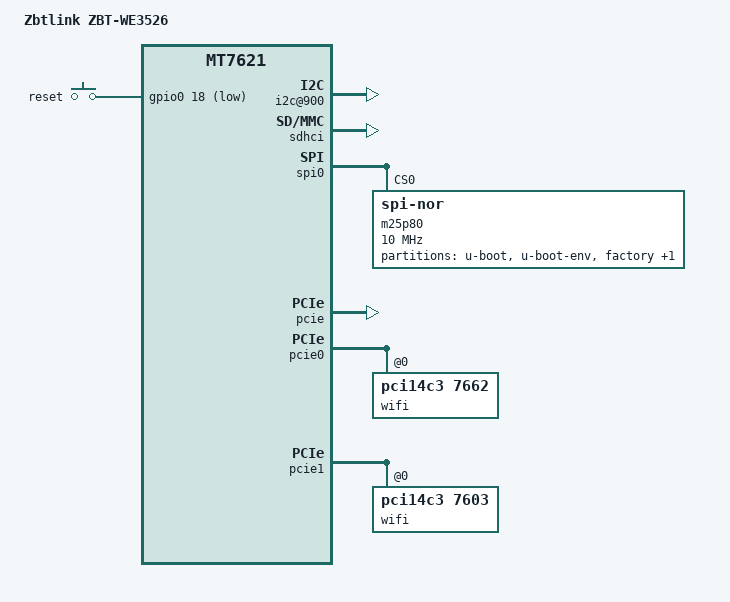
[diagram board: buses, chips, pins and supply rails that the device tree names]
/dts-v1/;

#include "mt7621.dtsi"

#include <dt-bindings/gpio/gpio.h>
#include <dt-bindings/input/input.h>

/ {
	compatible = "zbtlink,zbt-we3526", "mediatek,mt7621-soc";
	model = "Zbtlink ZBT-WE3526";

	chosen {
		bootargs = "console=ttyS0,115200";
	};

	palmbus: palmbus@1E000000 {
		i2c@900 {
			status = "okay";
		};
	};

	keys {
		compatible = "gpio-keys";

		reset {
			label = "reset";
			gpios = <&gpio0 18 GPIO_ACTIVE_LOW>;
			linux,code = <KEY_RESTART>;
		};
	};
};

&sdhci {
	status = "okay";
};

&spi0 {
	status = "okay";

	m25p80@0 {
		compatible = "jedec,spi-nor";
		reg = <0>;
		spi-max-frequency = <10000000>;

		partitions {
			compatible = "fixed-partitions";
			#address-cells = <1>;
			#size-cells = <1>;

			partition@0 {
				label = "u-boot";
				reg = <0x0 0x30000>;
				read-only;
			};

			partition@30000 {
				label = "u-boot-env";
				reg = <0x30000 0x10000>;
				read-only;
			};

			factory: partition@40000 {
				label = "factory";
				reg = <0x40000 0x10000>;
				read-only;
			};

			firmware: partition@50000 {
				compatible = "denx,uimage";
				label = "firmware";
				reg = <0x50000 0xfb0000>;
			};
		};
	};
};

&pcie {
	status = "okay";
};

&pcie0 {
	wifi@0,0 {
		compatible = "pci14c3,7662";
		reg = <0x0000 0 0 0 0>;
		mediatek,mtd-eeprom = <&factory 0x8000>;
		ieee80211-freq-limit = <5000000 6000000>;

		led {
			led-sources = <2>;
		};
	};
};

&pcie1 {
	wifi@0,0 {
		compatible = "pci14c3,7603";
		reg = <0x0000 0 0 0 0>;
		mediatek,mtd-eeprom = <&factory 0x0000>;
	};
};

&ethernet {
	mtd-mac-address = <&factory 0xe000>;
};

&pinctrl {
	state_default: pinctrl0 {
		gpio {
			ralink,group = "wdt";
			ralink,function = "gpio";
		};
	};
};
